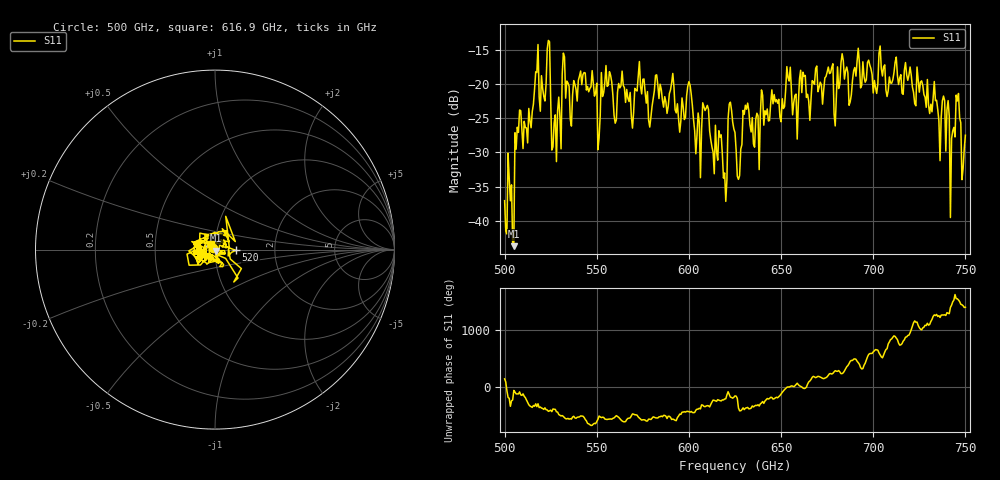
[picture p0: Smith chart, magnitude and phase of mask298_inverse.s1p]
!Created with skrf (http://scikit-rf.org).
# GHz S MA R 50.0
!freq magS11 angS11
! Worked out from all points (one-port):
!   401 points, 500 GHz to 750 GHz, reference 50 ohm
!   lowest |S11| = -43.7 dB at 505 GHz (marker M1), VSWR 1.01, Z = 50.4 - j0.545 ohm
!   |S11| at or under -10 dB: start of sweep to end of sweep
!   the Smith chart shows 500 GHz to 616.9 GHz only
!   S11 on the Smith chart (normalised r, x): 500 GHz: 0.98, +0.02; 520 GHz: 1.26, -0.01; 616.9 GHz: 0.95, +0.06
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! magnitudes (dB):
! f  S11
! 500 GHz  -37.0
! 505 GHz  -43.7
! 507.5 GHz  -27.1
! 520 GHz  -18.8
! 523.8 GHz  -13.6
! 526.9 GHz  -25.7
! 531.2 GHz  -18.6
! 542.5 GHz  -18.6
! 550.6 GHz  -29.6
! 562.5 GHz  -20.6
! 579.4 GHz  -24.8
! 590.6 GHz  -19.8
! 593.8 GHz  -22.9
! 600 GHz  -19.6
! 605 GHz  -24.2
! 608.8 GHz  -23.9
! 616.9 GHz  -27.8
! 619.4 GHz  -33.0
! 622.5 GHz  -22.6
! 625 GHz  -27.1
! 626.9 GHz  -33.9
! 630.6 GHz  -23.1
! 656.2 GHz  -24.5
! 687.5 GHz  -22.6
! 718.8 GHz  -19.4
! 743.1 GHz  -26.8
! 746.2 GHz  -21.4
! 750 GHz  -27.5
